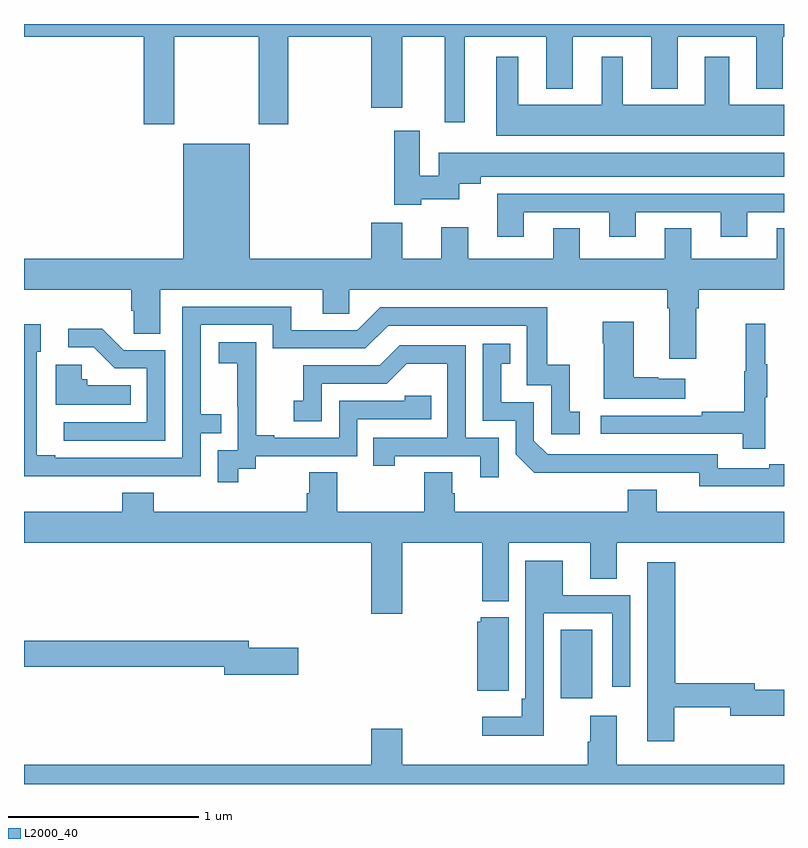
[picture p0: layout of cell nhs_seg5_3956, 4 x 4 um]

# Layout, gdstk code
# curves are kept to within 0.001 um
import gdstk
lib = gdstk.Library(unit=1e-6, precision=1e-09)
def R(c, l, rs):  # rectangles x0, y0, x1, y1
    for r in rs: c.add(gdstk.rectangle(r[:2], r[2:], *l))
def P(c, l, *ps):  # polygons
    for p in ps: c.add(gdstk.Polygon(p, *l))
L2000_40 = (2000, 40)

nhs_seg5_3956 = lib.new_cell('nhs_seg5_3956')
R(nhs_seg5_3956, L2000_40, [(345.824,881.25,345.991,881.612)])
P(nhs_seg5_3956, L2000_40, [(343.791,884.732),(344.236,884.732),(344.236,884.271),(344.391,884.271),(344.391,884.732),(344.828,884.732),(344.828,884.358),(344.992,884.358),(344.992,884.732),(345.215,884.732),(345.215,884.283),(345.319,884.283),(345.319,884.732),(345.749,884.732),(345.749,884.459),(345.889,884.459),(345.889,884.732),(346.301,884.732),(346.301,884.459),(346.441,884.459),(346.441,884.732),(346.853,884.732),(346.853,884.459),(346.993,884.459),(346.993,884.732),(347,884.732),(347,884.799),(343,884.799),(343,884.732),(343.631,884.732),(343.631,884.271),(343.791,884.271)],
  [(347,884.374),(346.711,884.374),(346.711,884.626),(346.583,884.626),(346.583,884.374),(346.15,884.374),(346.15,884.626),(346.04,884.626),(346.04,884.374),(345.601,884.374),(345.601,884.626),(345.485,884.626),(345.485,884.21),(347,884.21)],
  [(345.09,883.877),(345.292,883.877),(345.292,883.958),(345.403,883.958),(345.403,883.994),(347,883.994),(347,884.122),(345.182,884.122),(345.182,884),(345.082,884),(345.082,884.236),(344.948,884.236),(344.948,883.847),(345.09,883.847)],
  [(346.537,883.304),(346.55,883.304),(346.55,883.4),(347,883.4),(347,883.724),(346.961,883.724),(346.961,883.564),(346.513,883.564),(346.513,883.724),(346.373,883.724),(346.373,883.564),(345.925,883.564),(345.925,883.724),(345.785,883.724),(345.785,883.564),(345.337,883.564),(345.337,883.729),(345.197,883.729),(345.197,883.564),(344.992,883.564),(344.992,883.753),(344.828,883.753),(344.828,883.564),(344.188,883.564),(344.188,884.17),(343.838,884.17),(343.838,883.564),(343,883.564),(343,883.4),(343.565,883.4),(343.565,883.291),(343.578,883.291),(343.578,883.168),(343.717,883.168),(343.717,883.4),(344.573,883.4),(344.573,883.273),(344.712,883.273),(344.712,883.4),(346.385,883.4),(346.385,883.304),(346.397,883.304),(346.397,883.038),(346.537,883.038)],
  [(345.631,883.809),(346.079,883.809),(346.079,883.68),(346.219,883.68),(346.219,883.809),(346.667,883.809),(346.667,883.68),(346.807,883.68),(346.807,883.809),(347,883.809),(347,883.905),(345.491,883.905),(345.491,883.68),(345.631,883.68)],
  [(343.433,882.42),(343.929,882.42),(343.929,882.645),(344.039,882.645),(344.039,882.746),(343.929,882.746),(343.929,883.215),(344.31,883.215),(344.31,883.092),(344.796,883.092),(344.916,883.212),(345.645,883.212),(345.645,882.897),(345.774,882.897),(345.774,882.639),(345.925,882.639),(345.925,882.759),(345.872,882.759),(345.872,883.006),(345.754,883.006),(345.754,883.308),(344.874,883.308),(344.754,883.188),(344.407,883.188),(344.407,883.311),(343.833,883.311),(343.833,882.516),(343.165,882.516),(343.165,882.529),(343.068,882.529),(343.068,883.074),(343.087,883.074),(343.087,883.219),(343,883.219),(343,882.419)],
  [(346.48,882.931),(346.337,882.931),(346.337,882.941),(346.21,882.941),(346.21,883.231),(346.045,883.231),(346.045,883.118),(346.052,883.118),(346.052,882.827),(346.48,882.827)],
  [(346.901,882.835),(346.912,882.835),(346.912,883.009),(346.901,883.009),(346.901,883.222),(346.798,883.222),(346.798,882.972),(346.791,882.972),(346.791,882.758),(346.567,882.758),(346.567,882.738),(346.035,882.738),(346.035,882.642),(346.783,882.642),(346.783,882.564),(346.901,882.564)],
  [(343.743,883.083),(343.524,883.083),(343.411,883.196),(343.233,883.196),(343.233,883.098),(343.367,883.098),(343.478,882.987),(343.647,882.987),(343.647,882.702),(343.209,882.702),(343.209,882.606),(343.743,882.606)],
  [(344.128,882.457),(344.22,882.457),(344.22,882.525),(344.754,882.525),(344.754,882.72),(345.143,882.72),(345.143,882.843),(345.003,882.843),(345.003,882.816),(344.658,882.816),(344.658,882.621),(344.317,882.621),(344.317,882.634),(344.222,882.634),(344.222,882.917),(344.223,882.917),(344.223,883.123),(344.025,883.123),(344.025,883.013),(344.123,883.013),(344.123,882.785),(344.124,882.785),(344.124,882.555),(344.019,882.555),(344.019,882.387),(344.128,882.387)],
  [(346.922,882.366),(347,882.366),(347,882.482),(346.922,882.482),(346.922,882.462),(346.65,882.462),(346.65,882.534),(345.756,882.534),(345.684,882.606),(345.684,882.807),(345.511,882.807),(345.511,883.011),(345.56,883.011),(345.56,883.117),(345.414,883.117),(345.414,882.711),(345.588,882.711),(345.588,882.534),(345.686,882.437),(346.554,882.438),(346.554,882.365)],
  [(345.498,882.621),(345.324,882.621),(345.324,883.107),(344.978,883.107),(344.873,883.002),(344.47,883.002),(344.47,882.817),(344.421,882.817),(344.421,882.708),(344.568,882.708),(344.568,882.906),(344.91,882.906),(345.014,883.01),(345.228,883.01),(345.228,882.621),(344.839,882.621),(344.839,882.474),(344.95,882.474),(344.95,882.525),(345.401,882.525),(345.401,882.414),(345.498,882.414)],
  [(343.562,882.898),(343.332,882.898),(343.332,882.93),(343.305,882.93),(343.305,883.006),(343.166,883.006),(343.166,882.794),(343.562,882.794)],
  [(345.266,882.33),(345.253,882.33),(345.253,882.44),(345.106,882.44),(345.106,882.232),(344.649,882.232),(344.649,882.44),(344.501,882.44),(344.501,882.33),(344.489,882.33),(344.489,882.232),(343.682,882.232),(343.682,882.331),(343.517,882.331),(343.517,882.232),(343,882.232),(343,882.068),(344.828,882.068),(344.828,881.694),(344.992,881.694),(344.992,882.068),(345.412,882.068),(345.412,881.762),(345.55,881.762),(345.55,882.068),(345.98,882.068),(345.98,881.878),(346.12,881.878),(346.12,882.068),(347,882.068),(347,882.232),(346.33,882.232),(346.33,882.349),(346.178,882.349),(346.178,882.232),(345.266,882.232)],
  [(345.735,881.697),(346.095,881.697),(346.095,881.31),(346.191,881.31),(346.191,881.793),(345.835,881.793),(345.835,881.974),(345.639,881.974),(345.639,881.248),(345.619,881.248),(345.619,881.152),(345.411,881.152),(345.411,881.054),(345.735,881.054)],
  [(346.422,881.202),(346.718,881.202),(346.718,881.159),(347,881.159),(347,881.294),(346.846,881.294),(346.846,881.33),(346.427,881.33),(346.427,881.965),(346.28,881.965),(346.28,881.025),(346.422,881.025)],
  [(345.55,881.677),(345.405,881.677),(345.405,881.652),(345.386,881.652),(345.386,881.291),(345.55,881.291)],
  [(344.443,881.516),(344.182,881.516),(344.182,881.552),(343,881.552),(343,881.416),(344.054,881.416),(344.054,881.374),(344.443,881.374)],
  [(343,880.799),(347,880.799),(347,880.9),(346.12,880.9),(346.12,881.158),(345.98,881.158),(345.98,881.021),(345.968,881.021),(345.968,880.9),(344.992,880.9),(344.992,881.089),(344.828,881.089),(344.828,880.9),(343,880.9)])

lib.write_gds('nhs_seg5_3956.gds')
